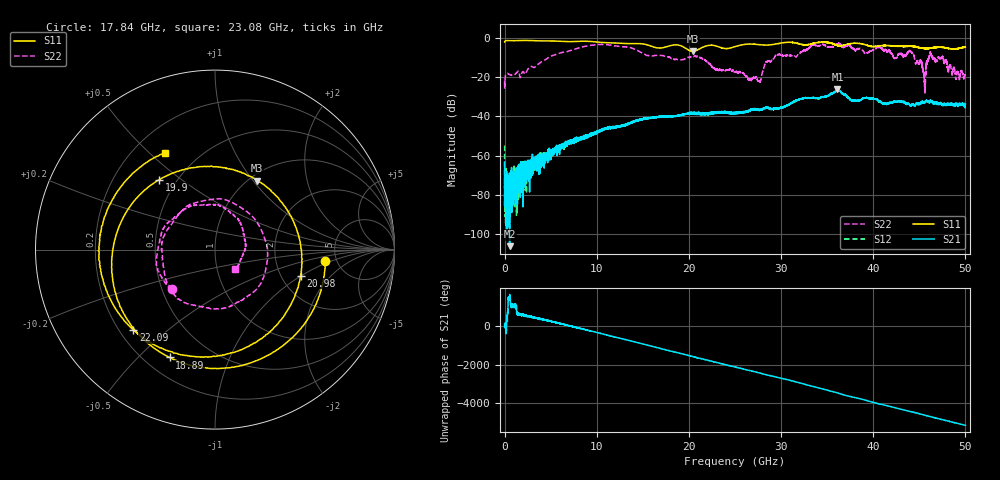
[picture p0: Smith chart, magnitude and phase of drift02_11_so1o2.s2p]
!Created with skrf (http://scikit-rf.org).
# Hz S RI R 50.0
!freq ReS11 ImS11 ReS21 ImS21 ReS12 ImS12 ReS22 ImS22
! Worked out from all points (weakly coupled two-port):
!   10001 points, 300 kHz to 50 GHz, reference 50 ohm
!   highest |S21| = -26.33 dB at 36.12 GHz (marker M1); lowest = -106.2 dB at 545.3 MHz (marker M2)
!   lowest |S11| = -6.9 dB at 20.4 GHz (marker M3), VSWR 2.63, Z = 54.3 + j52.3 ohm
!   |S11| at or under -10 dB: nowhere
!   |S22| runs from -28.7 to -2.6 dB; largest |S21 - S12| = 0.0052
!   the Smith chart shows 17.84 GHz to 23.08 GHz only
!   S11 on the Smith chart (normalised r, x): 17.84 GHz: 4.07, -0.82; 18.89 GHz: 0.30, -0.62; 19.9 GHz: 0.40, +0.42; 20.98 GHz: 2.55, -0.98; 22.09 GHz: 0.26, -0.39; 23.08 GHz: 0.33, +0.56
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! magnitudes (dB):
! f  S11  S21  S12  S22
! 300 kHz  -2.1  -63.4  -54.9  -21.9
! 255.3 MHz  -1.4  -73.3  -90.7  -18.2
! 545.3 MHz  -1.5  -106.2  -87.3  -18.8
! 8.335 GHz  -1.7  -51.5  -50.9  -4.8
! 16.67 GHz  -5.2  -40.2  -40.3  -8.9
! 17.84 GHz  -4.2  -40.0  -39.9  -9.8
! 18.89 GHz  -3.7  -39.8  -39.5  -11.0
! 19.9 GHz  -6.1  -38.6  -38.5  -10.0
! 20.4 GHz  -6.9  -38.4  -38.5  -9.7
! 20.98 GHz  -6.1  -38.3  -38.9  -9.4
! 22.09 GHz  -3.9  -38.6  -39.0  -12.6
! 23.08 GHz  -4.3  -37.8  -37.9  -16.2
! 25 GHz  -4.5  -38.4  -38.4  -17.4
! 27.61 GHz  -3.5  -36.7  -36.5  -21.9
! 28.5 GHz  -3.7  -35.6  -35.6  -12.1
! 33.34 GHz  -3.0  -30.7  -30.5  -3.8
! 36.12 GHz  -3.9  -26.3  -26.9  -3.2
! 41.67 GHz  -3.9  -33.2  -33.4  -6.4
! 44.12 GHz  -4.1  -34.3  -34.4  -7.2
! 45.5 GHz  -5.4  -32.6  -33.1  -18.0
! 46.25 GHz  -5.2  -32.4  -32.1  -8.1
! 50 GHz  -4.7  -33.9  -34.3  -18.8
